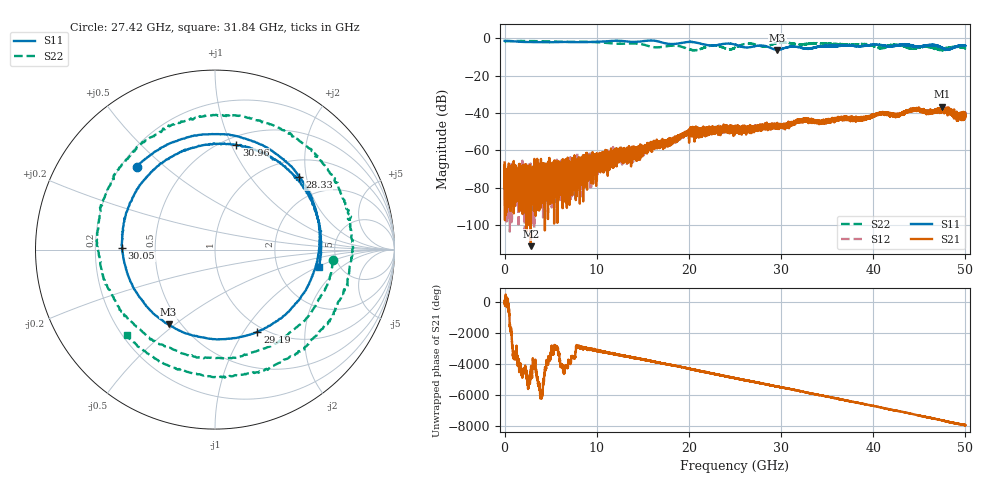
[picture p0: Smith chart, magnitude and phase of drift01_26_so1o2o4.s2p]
!Created with skrf (http://scikit-rf.org).
# Hz S RI R 50.0
!freq ReS11 ImS11 ReS21 ImS21 ReS12 ImS12 ReS22 ImS22
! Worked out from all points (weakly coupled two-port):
!   10001 points, 300 kHz to 50 GHz, reference 50 ohm
!   highest |S21| = -36.53 dB at 47.52 GHz (marker M1); lowest = -111.3 dB at 2.84 GHz (marker M2)
!   lowest |S11| = -6.2 dB at 29.61 GHz (marker M3), VSWR 2.93, Z = 21.6 - j23.7 ohm
!   |S11| at or under -10 dB: nowhere
!   |S22| runs from -6.5 to -1.4 dB; largest |S21 - S12| = 0.0042
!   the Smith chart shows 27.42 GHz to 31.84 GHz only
!   S11 on the Smith chart (normalised r, x): 27.42 GHz: 0.26, +0.41; 28.33 GHz: 1.38, +1.82; 29.19 GHz: 0.93, -1.16; 30.05 GHz: 0.32, +0.01; 30.96 GHz: 0.58, +1.05; 31.84 GHz: 3.54, -1.05
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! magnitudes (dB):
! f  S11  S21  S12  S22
! 300 kHz  -1.3  -66.5  -69.7  -2.1
! 285.3 MHz  -1.4  -90.5  -70.8  -1.4
! 2.84 GHz  -2.0  -111.3  -76.5  -1.4
! 5.955 GHz  -2.0  -81.9  -68.8  -1.8
! 8.335 GHz  -2.0  -69.9  -84.5  -1.8
! 10.85 GHz  -1.7  -63.2  -63.0  -2.3
! 16.67 GHz  -1.6  -56.9  -56.6  -4.8
! 18.62 GHz  -2.9  -54.9  -54.2  -3.9
! 20.32 GHz  -1.9  -50.0  -51.7  -6.2
! 22.6 GHz  -3.8  -48.8  -48.8  -3.8
! 25 GHz  -3.3  -49.4  -48.1  -5.1
! 27.42 GHz  -4.0  -48.8  -48.7  -3.6
! 28.33 GHz  -4.1  -46.2  -47.2  -4.2
! 29.19 GHz  -5.8  -46.6  -45.9  -3.0
! 29.61 GHz  -6.2  -46.7  -46.5  -2.5
! 30.05 GHz  -5.7  -46.0  -47.5  -2.3
! 30.96 GHz  -4.5  -46.0  -46.2  -2.5
! 31.84 GHz  -4.6  -44.3  -44.1  -3.3
! 33.34 GHz  -5.3  -43.8  -43.5  -2.6
! 41.67 GHz  -4.2  -39.7  -40.3  -4.2
! 47.52 GHz  -5.1  -36.5  -38.3  -6.0
! 50 GHz  -3.9  -40.4  -42.3  -5.4
